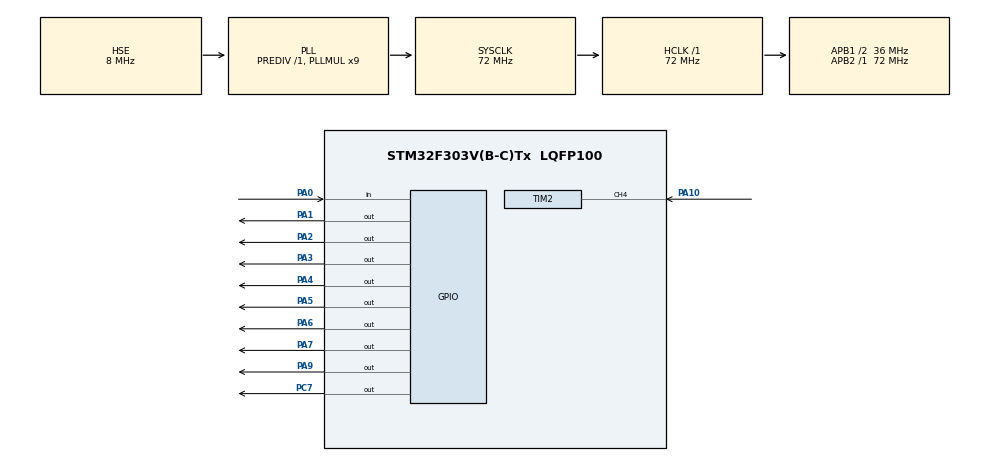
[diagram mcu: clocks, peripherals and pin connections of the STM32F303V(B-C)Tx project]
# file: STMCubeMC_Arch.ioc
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Mcu.Family=STM32F3
Mcu.Name=STM32F303V(B-C)Tx
Mcu.Package=LQFP100
NVIC.PriorityGroup=NVIC_PRIORITYGROUP_4
NVIC.TIM2_IRQn=true\:0\:0\:false\:false\:true\:true\:true\:true
PA0.Signal=GPIO_Input
PA1.Signal=GPIO_Output
PA10.Signal=S_TIM2_CH4
PA2.Signal=GPIO_Output
PA3.Signal=GPIO_Output
PA4.Signal=GPIO_Output
PA5.Signal=GPIO_Output
PA6.Signal=GPIO_Output
PA7.Signal=GPIO_Output
PA9.Signal=GPIO_Output
PC7.Signal=GPIO_Output
PF0-OSC_IN.Mode=HSE-External-Oscillator
PF0-OSC_IN.Signal=RCC_OSC_IN
PF1-OSC_OUT.Mode=HSE-External-Oscillator
PF1-OSC_OUT.Signal=RCC_OSC_OUT
ProjectManager.HeapSize=0x200
ProjectManager.StackSize=0x400
ProjectManager.TargetToolchain=STM32CubeIDE
RCC.AHBFreq_Value=72000000
RCC.APB1CLKDivider=RCC_HCLK_DIV2
RCC.APB1Freq_Value=36000000
RCC.APB1TimFreq_Value=72000000
RCC.APB2Freq_Value=72000000
RCC.APB2TimFreq_Value=72000000
RCC.CortexFreq_Value=72000000
RCC.HCLKFreq_Value=72000000
RCC.HSE_VALUE=8000000
RCC.HSI_VALUE=8000000
RCC.LSE_VALUE=32768
RCC.PLLMUL=RCC_PLL_MUL9
RCC.PLLSourceVirtual=RCC_PLLSOURCE_HSE
RCC.SYSCLKFreq_VALUE=72000000
RCC.SYSCLKSourceVirtual=RCC_SYSCLKSOURCE_PLLCLK
RCC.USBFreq_Value=72000000
SH.S_TIM2_CH4.0=TIM2_CH4,Input_Capture4_from_TI4
TIM1.Prescaler=71
TIM2.Channel-Input_Capture4_from_TI4=TIM_CHANNEL_4
TIM2.ClockDivision=TIM_CLOCKDIVISION_DIV1
TIM2.ICPrescaler-Input_Capture4_from_TI4=TIM_ICPSC_DIV1
TIM2.Prescaler=71
VP_TIM1_VS_ClockSourceINT.Mode=Internal
VP_TIM2_VS_ClockSourceINT.Mode=Internal
board=custom

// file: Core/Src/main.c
/* USER CODE BEGIN Header */
/**
  ******************************************************************************
  * @file           : main.c
  * @brief          : Main program body
  ******************************************************************************
  * @attention
  *
  * Copyright (c) 2026 STMicroelectronics.
  * All rights reserved.
  *
  * This software is licensed under terms that can be found in the LICENSE file
  * in the root directory of this software component.
  * If no LICENSE file comes with this software, it is provided AS-IS.
  *
  ******************************************************************************
  */
/* USER CODE END Header */
#include "main.h"

/* USER CODE BEGIN Includes */
#include "utrs.h"
#include "lcd.h"
#include "button.h"
#include "buzzer.h"
#include <stdio.h>
/* USER CODE END Includes */

TIM_HandleTypeDef htim1;
TIM_HandleTypeDef htim2;

void SystemClock_Config(void);
static void MX_GPIO_Init(void);
static void MX_TIM1_Init(void);
static void MX_TIM2_Init(void);

int main(void)
{

  /* MCU Configuration--------------------------------------------------------*/

  /* Reset of all peripherals, Initializes the Flash interface and the Systick. */
  HAL_Init();

  /* Configure the system clock */
  SystemClock_Config();

  /* Initialize all configured peripherals */
  MX_GPIO_Init();
  MX_TIM1_Init();
  MX_TIM2_Init();
  /* USER CODE BEGIN 2 */

  UTRS_Init();

  LCD_Init();
  LCD_DisplayOff();

  Buzzer_Init();

  uint8_t ultrasonic_enabled = 0;
  uint32_t last_trigger = 0;
  uint16_t distance = 0;

  uint8_t button_old = GPIO_PIN_RESET;

  /* USER CODE END 2 */
  volatile uint32_t debug_pa10_high = 0;
  volatile uint32_t debug_pa10_low = 0;
  /* Infinite loop */
  /* USER CODE BEGIN WHILE */
  while (1)
  {

	  if (HAL_GPIO_ReadPin(GPIOA, GPIO_PIN_10) == GPIO_PIN_SET){
	      debug_pa10_high++;
	  } else {
	      debug_pa10_low++;
	  }
    /* USER CODE END WHILE */

    /* USER CODE BEGIN 3 */
	  uint8_t button_now = HAL_GPIO_ReadPin(GPIOA, GPIO_PIN_0);

	  if (Button_Pressed(button_old, button_now)){
		  if (LCD_GetState()){
			  LCD_Clear();
	          LCD_DisplayOff();
	          ultrasonic_enabled = 0;
	          Buzzer_Stop();
	      } else {
	          LCD_DisplayOn();
	          ultrasonic_enabled = 1;
	          LCD_Clear();
	          LCD_SetCursor(0, 0);
	          LCD_Print("Distanza:");
	          LCD_SetCursor(1, 0);
	          LCD_Print("Attesa...");
	          Buzzer_Start(BUZZER_START);
	      }
	      HAL_Delay(50);
	  }
	  button_old = button_now;
	  Buzzer_Update();
	  // Sensore ultrasuoni
	  if (ultrasonic_enabled){
		  // Misura ogni 100 ms - test 10ms
		  if ((HAL_GetTick() - last_trigger >= 100) && !UTRS_IsMeasuring()){
			  last_trigger = HAL_GetTick();
			  UTRS_Trigger();
	      }
		  if (UTRS_MeasurementReady()){
			  uint16_t new_distance = UTRS_ReadDistance();
			  if (new_distance != 0){
				  distance = new_distance;
				  char buffer[17];
				  LCD_Clear();
				  if (distance < STOP_RANGE){
					  Buzzer_SetInterval(BUZZER_INTERVAL_HG);
					  LCD_SetCursor(0, 0);
					  LCD_Print("STOP!");
					  LCD_SetCursor(1, 0);
					  sprintf(buffer, "%3d cm  ", distance);
					  LCD_Print(buffer);
				  }  else if (distance < MIN_RANGE){
					  Buzzer_SetInterval(BUZZER_INTERVAL_MD);
					  LCD_SetCursor(0, 0);
					  LCD_Print("Attenzione:");
					  LCD_SetCursor(1, 0);
					  sprintf(buffer, "%3d cm  ", distance);
					  LCD_Print(buffer);
				  } else if (distance < MED_RANGE){
					  Buzzer_SetInterval(BUZZER_INTERVAL_SL);
					  LCD_SetCursor(0, 0);
					  LCD_Print("Rallenta:");
					  LCD_SetCursor(1, 0);
					  sprintf(buffer, "%3d cm  ", distance);
					  LCD_Print(buffer);
				  } else if (distance < MAX_RANGE){
					  Buzzer_SetInterval(BUZZER_START);
					  LCD_SetCursor(0, 0);
					  LCD_Print("Distanza:");
					  LCD_SetCursor(1, 0);
					  sprintf(buffer, "%3d cm  ", distance);
					  LCD_Print(buffer);
				  }

			  }
		  }
	  }
  }
  /* USER CODE END 3 */
}

void SystemClock_Config(void)
{
  RCC_OscInitTypeDef RCC_OscInitStruct = {0};
  RCC_ClkInitTypeDef RCC_ClkInitStruct = {0};
  RCC_PeriphCLKInitTypeDef PeriphClkInit = {0};

  /** Initializes the RCC Oscillators according to the specified parameters
  * in the RCC_OscInitTypeDef structure.
  */
  RCC_OscInitStruct.OscillatorType = RCC_OSCILLATORTYPE_HSE;
  RCC_OscInitStruct.HSEState = RCC_HSE_ON;
  RCC_OscInitStruct.HSEPredivValue = RCC_HSE_PREDIV_DIV1;
  RCC_OscInitStruct.HSIState = RCC_HSI_ON;
  RCC_OscInitStruct.PLL.PLLState = RCC_PLL_ON;
  RCC_OscInitStruct.PLL.PLLSource = RCC_PLLSOURCE_HSE;
  RCC_OscInitStruct.PLL.PLLMUL = RCC_PLL_MUL9;
  if (HAL_RCC_OscConfig(&RCC_OscInitStruct) != HAL_OK)
  {
    Error_Handler();
  }

  /** Initializes the CPU, AHB and APB buses clocks
  */
  RCC_ClkInitStruct.ClockType = RCC_CLOCKTYPE_HCLK|RCC_CLOCKTYPE_SYSCLK
                              |RCC_CLOCKTYPE_PCLK1|RCC_CLOCKTYPE_PCLK2;
  RCC_ClkInitStruct.SYSCLKSource = RCC_SYSCLKSOURCE_PLLCLK;
  RCC_ClkInitStruct.AHBCLKDivider = RCC_SYSCLK_DIV1;
  RCC_ClkInitStruct.APB1CLKDivider = RCC_HCLK_DIV2;
  RCC_ClkInitStruct.APB2CLKDivider = RCC_HCLK_DIV1;

  if (HAL_RCC_ClockConfig(&RCC_ClkInitStruct, FLASH_LATENCY_2) != HAL_OK)
  {
    Error_Handler();
  }
  PeriphClkInit.PeriphClockSelection = RCC_PERIPHCLK_TIM1;
  PeriphClkInit.Tim1ClockSelection = RCC_TIM1CLK_HCLK;
  if (HAL_RCCEx_PeriphCLKConfig(&PeriphClkInit) != HAL_OK)
  {
    Error_Handler();
  }
}

static void MX_TIM1_Init(void)
{

  TIM_ClockConfigTypeDef sClockSourceConfig = {0};
  TIM_MasterConfigTypeDef sMasterConfig = {0};

  htim1.Instance = TIM1;
  htim1.Init.Prescaler = 71;
  htim1.Init.CounterMode = TIM_COUNTERMODE_UP;
  htim1.Init.Period = 65535;
  htim1.Init.ClockDivision = TIM_CLOCKDIVISION_DIV1;
  htim1.Init.RepetitionCounter = 0;
  htim1.Init.AutoReloadPreload = TIM_AUTORELOAD_PRELOAD_DISABLE;
  if (HAL_TIM_Base_Init(&htim1) != HAL_OK)
  {
    Error_Handler();
  }
  sClockSourceConfig.ClockSource = TIM_CLOCKSOURCE_INTERNAL;
  if (HAL_TIM_ConfigClockSource(&htim1, &sClockSourceConfig) != HAL_OK)
  {
    Error_Handler();
  }
  sMasterConfig.MasterOutputTrigger = TIM_TRGO_RESET;
  sMasterConfig.MasterOutputTrigger2 = TIM_TRGO2_RESET;
  sMasterConfig.MasterSlaveMode = TIM_MASTERSLAVEMODE_DISABLE;
  if (HAL_TIMEx_MasterConfigSynchronization(&htim1, &sMasterConfig) != HAL_OK)
  {
    Error_Handler();
  }

}

static void MX_TIM2_Init(void)
{

  TIM_ClockConfigTypeDef sClockSourceConfig = {0};
  TIM_MasterConfigTypeDef sMasterConfig = {0};
  TIM_IC_InitTypeDef sConfigIC = {0};

  htim2.Instance = TIM2;
  htim2.Init.Prescaler = 71;
  htim2.Init.CounterMode = TIM_COUNTERMODE_UP;
  htim2.Init.Period = 4294967295;
  htim2.Init.ClockDivision = TIM_CLOCKDIVISION_DIV1;
  htim2.Init.AutoReloadPreload = TIM_AUTORELOAD_PRELOAD_DISABLE;
  if (HAL_TIM_Base_Init(&htim2) != HAL_OK)
  {
    Error_Handler();
  }
  sClockSourceConfig.ClockSource = TIM_CLOCKSOURCE_INTERNAL;
  if (HAL_TIM_ConfigClockSource(&htim2, &sClockSourceConfig) != HAL_OK)
  {
    Error_Handler();
  }
  if (HAL_TIM_IC_Init(&htim2) != HAL_OK)
  {
    Error_Handler();
  }
  sMasterConfig.MasterOutputTrigger = TIM_TRGO_RESET;
  sMasterConfig.MasterSlaveMode = TIM_MASTERSLAVEMODE_DISABLE;
  if (HAL_TIMEx_MasterConfigSynchronization(&htim2, &sMasterConfig) != HAL_OK)
  {
    Error_Handler();
  }
  sConfigIC.ICPolarity = TIM_INPUTCHANNELPOLARITY_RISING;
  sConfigIC.ICSelection = TIM_ICSELECTION_DIRECTTI;
  sConfigIC.ICPrescaler = TIM_ICPSC_DIV1;
  sConfigIC.ICFilter = 0;
  if (HAL_TIM_IC_ConfigChannel(&htim2, &sConfigIC, TIM_CHANNEL_4) != HAL_OK)
  {
    Error_Handler();
  }

}

static void MX_GPIO_Init(void)
{
  GPIO_InitTypeDef GPIO_InitStruct = {0};

  /* GPIO Ports Clock Enable */
  __HAL_RCC_GPIOF_CLK_ENABLE();
  __HAL_RCC_GPIOA_CLK_ENABLE();
  __HAL_RCC_GPIOC_CLK_ENABLE();

  /*Configure GPIO pin Output Level */
  HAL_GPIO_WritePin(GPIOA, GPIO_PIN_1|GPIO_PIN_2|GPIO_PIN_3|GPIO_PIN_4
                          |GPIO_PIN_5|GPIO_PIN_6|GPIO_PIN_7|GPIO_PIN_9, GPIO_PIN_RESET);

  /*Configure GPIO pin Output Level */
  HAL_GPIO_WritePin(GPIOC, GPIO_PIN_7, GPIO_PIN_RESET);

  /*Configure GPIO pin : PA0 */
  GPIO_InitStruct.Pin = GPIO_PIN_0;
  GPIO_InitStruct.Mode = GPIO_MODE_INPUT;
  GPIO_InitStruct.Pull = GPIO_NOPULL;
  HAL_GPIO_Init(GPIOA, &GPIO_InitStruct);

  /*Configure GPIO pins : PA1 PA2 PA3 PA4
                           PA5 PA6 PA7 PA9 */
  GPIO_InitStruct.Pin = GPIO_PIN_1|GPIO_PIN_2|GPIO_PIN_3|GPIO_PIN_4
                          |GPIO_PIN_5|GPIO_PIN_6|GPIO_PIN_7|GPIO_PIN_9;
  GPIO_InitStruct.Mode = GPIO_MODE_OUTPUT_PP;
  GPIO_InitStruct.Pull = GPIO_NOPULL;
  GPIO_InitStruct.Speed = GPIO_SPEED_FREQ_LOW;
  HAL_GPIO_Init(GPIOA, &GPIO_InitStruct);

  /*Configure GPIO pin : PC7 */
  GPIO_InitStruct.Pin = GPIO_PIN_7;
  GPIO_InitStruct.Mode = GPIO_MODE_OUTPUT_PP;
  GPIO_InitStruct.Pull = GPIO_NOPULL;
  GPIO_InitStruct.Speed = GPIO_SPEED_FREQ_LOW;
  HAL_GPIO_Init(GPIOC, &GPIO_InitStruct);

}

void Error_Handler(void)
{
  __disable_irq();
  while (1)
  {
  }
}
